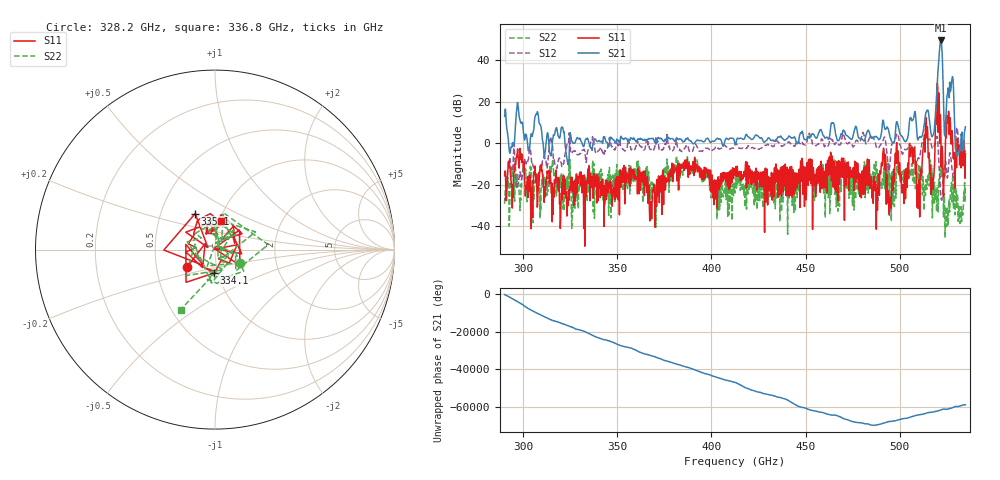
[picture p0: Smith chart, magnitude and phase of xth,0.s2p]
!Created with skrf (http://scikit-rf.org).
# GHz S RI R 50.0
!freq ReS11 ImS11 ReS21 ImS21 ReS12 ImS12 ReS22 ImS22
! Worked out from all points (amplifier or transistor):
!   1201 points, 290 GHz to 535 GHz, reference 50 ohm
!   highest |S21| = 49.6 dB at 521.9 GHz (marker M1)
!   |S21| within 3 dB of that: 521.3973 GHz to 522.3906 GHz (993.3 MHz wide, 0.19 % of centre)
!   unconditionally stable (mu >= 1): 306.2 GHz to 314 GHz; 315.8 GHz to 324.3 GHz; 325.2 GHz to 334.1 GHz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
!   at 330.8 GHz: K = 1.06, MAG = 0.9 dB, |S12| = -4.1 dB
!   at 412.5 GHz: K = 0.98, MSG = 0.3 dB, |S12| = -0.7 dB
!   at 535 GHz: K = 1.04, MSG = 6.2 dB, |S12| = -4.3 dB
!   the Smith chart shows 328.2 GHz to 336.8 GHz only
!   S11 on the Smith chart (normalised r, x): 328.2 GHz: 0.72, -0.15; 334.1 GHz: 0.96, -0.25; 335.1 GHz: 0.74, +0.32; 336.8 GHz: 1.02, +0.33
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290  0.0453 0.1608  3.503 -2.796  -0.0248 0.0337  -0.0177 -0.0302
328.1792  -0.156 -0.0977  -0.9037 0.9084  -0.1222 -0.5381  0.1412 -0.0728
331.0375  0.0352 0.0543  -0.6861 -0.8054  0.193 0.6206  -0.0861 -0.0571
334.1  -0.00397 -0.1301  1.319 0.2331  -0.3409 0.5357  -0.0278 0.1814
335.1208  -0.1104 0.2007  -0.6166 -0.7426  0.4151 0.7731  0.1157 -0.1191
336.7542  0.0355 0.1576  0.4734 0.7021  0.0299 1.462  -0.1919 -0.3354
371.6667  0.0263 0.1272  -1.195 -0.6863  -0.7138 -0.7053  0.0403 -0.0641
412.5  0.1111 -0.1338  -0.8905 -0.4155  -0.2894 -0.8808  0.00412 0.0635
453.5375  0.0837 -0.2491  1.717 0.2276  -0.5798 -0.8684  -0.2076 0.1001
494.1667  -0.0557 0.00663  -2.041 0.0209  0.0726 -0.2264  -0.3312 0.024
519.2792  0.252 -4.594  -5.016 5.024  1.177 -0.2451  -0.0748 0.00586
519.8917  16.61 13.66  16.69 -11.42  1.372 0.5606  -0.0602 0.0179
520.5042  -0.6326 -1.748  -62.07 -2.822  0.5048 0.6168  -0.0146 0.0171
520.9125  -5.572 15.51  0.8064 -113.9  -0.2636 -0.2248  0.0224 0.1341
521.3208  -0.1131 -0.9936  193.1 28.32  0.1491 0.00745  -0.0119 0.0889
521.9333  1.51 1.619  42.79 -299.9  -0.00624 -0.0512  0.1064 0.113
522.5458  0.354 0.778  -171.4 39.75  -0.0467 0.000435  0.0825 0.2009
522.9542  0.2508 -0.2913  4.515 -60.43  0.0297 -0.0675  -0.1467 0.2054
523.1583  -0.0358 -0.1215  17.64 -20.52  -0.0924 -0.00104  -0.0382 0.1642
523.5667  0.00577 -0.1357  3.485 -1.743  0.1402 -0.0784  -0.0592 -0.017
523.975  -0.0256 0.1616  -0.2361 -1.499  -0.2797 0.00683  0.0107 0.031
535  -0.5295 -0.2159  -1.723 1.843  -0.3581 0.494  -0.0687 -0.0692
